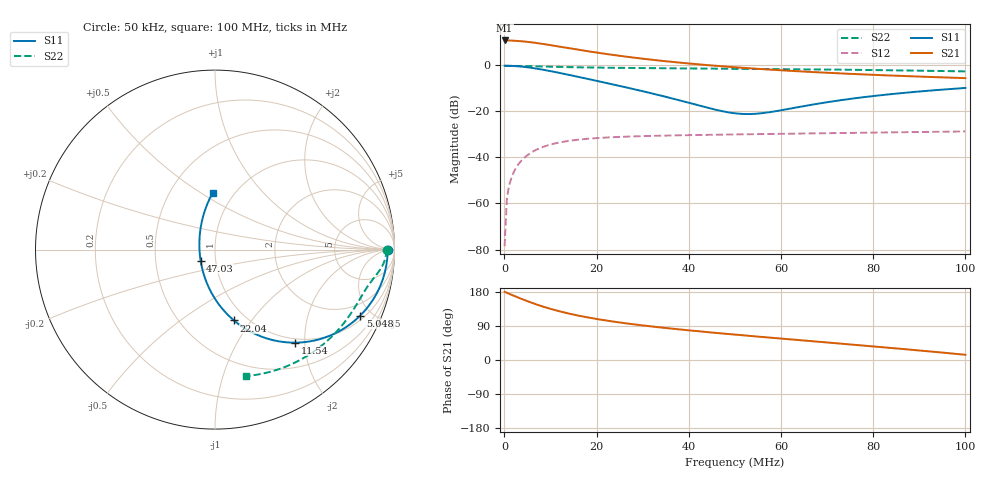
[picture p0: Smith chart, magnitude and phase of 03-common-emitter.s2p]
! 01-2-3 エミッタ接地増幅 (CH1 の 50 Ω を負荷にする) の計算値 — 実測ではない
! ハイブリッド π: Ic 0.93 mA, gm 35.8 mA/V, hFE 150, fT 45 MHz (Ic 0.93 mA のとき), Cob 4 pF (VCB 約 1.3 V), rbb' 50 Ω
! 回路: R1 20k / R2 10k, RC 2.2k, RE 1k || CE 100 uF, CIN/COUT 1 uF
! 板とクリップの寄生分: クリップのリード 80 nH ずつ (入力・出力)、各節点の浮遊容量 5 pF
# HZ S MA R 50
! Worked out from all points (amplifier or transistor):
!   201 points, 50 kHz to 100 MHz, reference 50 ohm
!   highest |S21| = 10.6 dB at 50 kHz (marker M1)
!   |S21| within 3 dB of that: start of sweep to 12.97 MHz
!   unconditionally stable (mu >= 1): start of sweep to 429.8 kHz; 8.434 MHz to end of sweep
!   at 16.54 MHz: K = 1.89, MAG = 13.9 dB, |S12| = -32.3 dB
!   at 50.02 MHz: K = 5.66, MAG = 4.0 dB, |S12| = -30.1 dB
!   at 100 MHz: K = 11.28, MAG = -2.0 dB, |S12| = -28.8 dB
!   S11 on the Smith chart (normalised r, x): 50 kHz: 51, -6; 5.048 MHz: 1.22, -4.28; 11.54 MHz: 0.93, -1.81; 22.04 MHz: 0.87, -0.83; 47.03 MHz: 0.85, -0.10; 100 MHz: 0.80, +0.56
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50000  0.9622 -0.3  3.39 180.0  0.000119 89.9  0.9555 -0.1
549750  0.9612 -2.8  3.387 177.2  0.001308 87.2  0.9554 -0.6
1049500  0.9586 -5.3  3.379 174.6  0.002492 84.6  0.9549 -1.1
1549250  0.9545 -7.8  3.366 172.0  0.003664 82.1  0.9541 -1.5
2548750  0.9419 -12.7  3.327 167.0  0.005957 77.1  0.9516 -2.5
3548250  0.9239 -17.6  3.27 162.1  0.008152 72.2  0.9481 -3.5
5047500  0.8885 -24.5  3.159 155.0  0.0112 65.2  0.9415 -4.8
6546750  0.8459 -31.0  3.026 148.4  0.01392 58.6  0.9338 -6.0
8046000  0.7989 -37.0  2.881 142.2  0.01629 52.5  0.9256 -7.0
9545250  0.7502 -42.5  2.731 136.6  0.01832 47.0  0.9175 -8.0
1.154425e7  0.6854 -49.1  2.534 129.8  0.02056 40.3  0.9072 -9.2
1.4043e7  0.6085 -56.5  2.304 122.4  0.02273 32.9  0.896 -10.5
1.70415e7  0.5251 -64.1  2.059 114.7  0.02466 25.4  0.8848 -12.0
2.2039e7  0.4086 -75.0  1.731 104.3  0.0268 15.2  0.8707 -14.3
2.70365e7  0.3159 -84.8  1.483 95.7  0.02816 6.8  0.8604 -16.6
3.353325e7  0.2221 -97.8  1.246 86.4  0.02935 -2.3  0.85 -19.8
4.70265e7  0.1007 -142.8  0.9382 70.3  0.03098 -17.9  0.8319 -27.3
5.0025e7  0.08965 -159.8  0.8907 67.0  0.03129 -21.0  0.8278 -29.2
5.6022e7  0.09051 164.4  0.8105 60.6  0.03188 -27.1  0.8193 -33.1
6.70165e7  0.1394 125.6  0.7006 49.3  0.03295 -38.0  0.8016 -41.1
8.350825e7  0.2314 103.5  0.5914 32.2  0.03464 -54.5  0.7679 -56.2
1e8  0.3175 92.3  0.518 13.8  0.03631 -72.2  0.7253 -76.4
